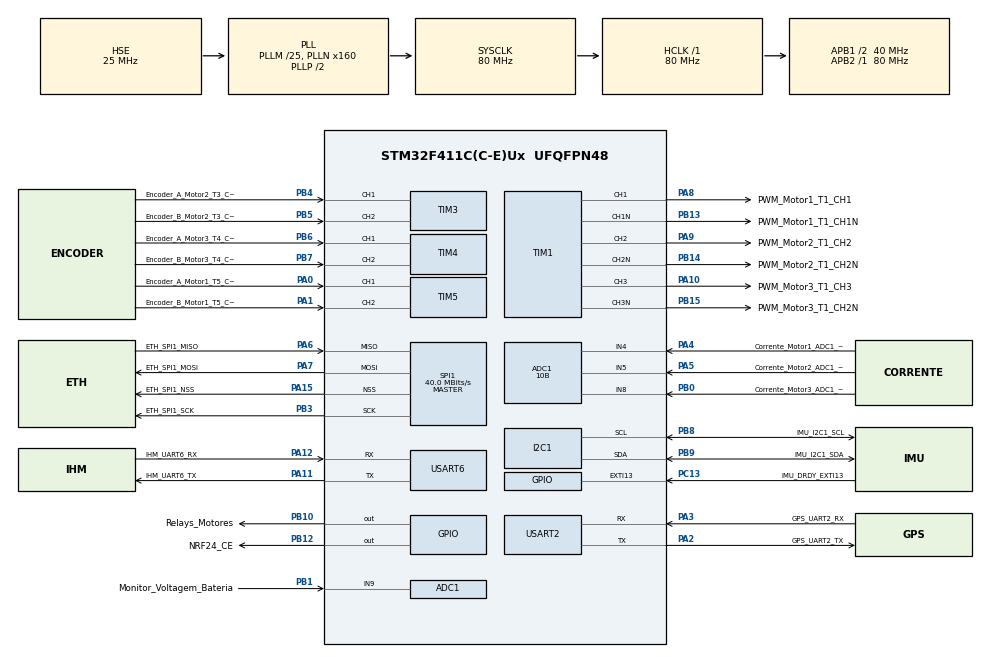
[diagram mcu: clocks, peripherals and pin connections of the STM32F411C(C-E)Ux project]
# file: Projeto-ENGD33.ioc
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ADC1.Channel-0\#ChannelRegularConversion=ADC_CHANNEL_4
ADC1.NbrOfConversion=1
ADC1.NbrOfConversionFlag=1
ADC1.Rank-0\#ChannelRegularConversion=1
ADC1.Resolution=ADC_RESOLUTION_10B
ADC1.SamplingTime-0\#ChannelRegularConversion=ADC_SAMPLETIME_3CYCLES
ADC1.master=1
FREERTOS.Tasks01=defaultTask,24,128,StartDefaultTask,Default,NULL,Dynamic,NULL,NULL
Mcu.Family=STM32F4
Mcu.Name=STM32F411C(C-E)Ux
Mcu.Package=UFQFPN48
NVIC.EXTI15_10_IRQn=true\:5\:0\:false\:false\:true\:true\:true\:true\:true
NVIC.I2C1_ER_IRQn=true\:5\:0\:false\:false\:true\:true\:true\:true\:true
NVIC.I2C1_EV_IRQn=true\:5\:0\:false\:false\:true\:true\:true\:true\:true
NVIC.PriorityGroup=NVIC_PRIORITYGROUP_4
NVIC.SPI1_IRQn=true\:5\:0\:false\:false\:true\:true\:true\:true\:true
NVIC.TIM1_UP_TIM10_IRQn=true\:15\:0\:false\:false\:true\:false\:false\:true\:true
NVIC.TimeBase=TIM1_UP_TIM10_IRQn
NVIC.TimeBaseIP=TIM10
NVIC.USART2_IRQn=true\:5\:0\:false\:false\:true\:true\:true\:true\:true
NVIC.USART6_IRQn=true\:5\:0\:false\:false\:true\:true\:true\:true\:true
PA0-WKUP.GPIO_Label=Encoder_A_Motor1_T5_CH1
PA0-WKUP.Signal=S_TIM5_CH1
PA1.GPIO_Label=Encoder_B_Motor1_T5_CH2
PA1.Signal=S_TIM5_CH2
PA10.GPIO_Label=PWM_Motor3_T1_CH3
PA10.Signal=S_TIM1_CH3
PA11.GPIO_Label=IHM_UART6_TX
PA11.Mode=Asynchronous
PA11.Signal=USART6_TX
PA12.GPIO_Label=IHM_UART6_RX
PA12.Mode=Asynchronous
PA12.Signal=USART6_RX
PA13.Signal=SYS_JTMS-SWDIO
PA14.Signal=SYS_JTCK-SWCLK
PA15.GPIO_Label=ETH_SPI1_NSS
PA15.Mode=NSS_Signal_Hard_Output
PA15.Signal=SPI1_NSS
PA2.GPIO_Label=GPS_UART2_TX
PA2.Mode=Asynchronous
PA2.Signal=USART2_TX
PA3.GPIO_Label=GPS_UART2_RX
PA3.Mode=Asynchronous
PA3.Signal=USART2_RX
PA4.GPIO_Label=Corrente_Motor1_ADC1_IN4
PA4.Signal=ADCx_IN4
PA5.GPIO_Label=Corrente_Motor2_ADC1_IN5
PA5.Signal=ADCx_IN5
PA6.GPIO_Label=ETH_SPI1_MISO
PA6.Mode=Full_Duplex_Master
PA6.Signal=SPI1_MISO
PA7.GPIO_Label=ETH_SPI1_MOSI
PA7.Mode=Full_Duplex_Master
PA7.Signal=SPI1_MOSI
PA8.GPIO_Label=PWM_Motor1_T1_CH1
PA8.Signal=S_TIM1_CH1
PA9.GPIO_Label=PWM_Motor2_T1_CH2
PA9.Signal=S_TIM1_CH2
PB0.GPIO_Label=Corrente_Motor3_ADC1_IN8
PB0.Signal=ADCx_IN8
PB1.GPIO_Label=Monitor_Voltagem_Bateria
PB1.Signal=ADCx_IN9
PB10.GPIO_Label=Relays_Motores
PB10.Signal=GPIO_Output
PB12.GPIO_Label=NRF24_CE
PB12.GPIO_Speed=GPIO_SPEED_FREQ_VERY_HIGH
PB12.Signal=GPIO_Output
PB13.GPIO_Label=PWM_Motor1_T1_CH1N
PB13.Mode=PWM Generation1 CH1 CH1N
PB13.Signal=TIM1_CH1N
PB14.GPIO_Label=PWM_Motor2_T1_CH2N
PB14.Mode=PWM Generation2 CH2 CH2N
PB14.Signal=TIM1_CH2N
PB15.GPIO_Label=PWM_Motor3_T1_CH2N
PB15.Mode=PWM Generation3 CH3 CH3N
PB15.Signal=TIM1_CH3N
PB3.GPIO_Label=ETH_SPI1_SCK
PB3.Mode=Full_Duplex_Master
PB3.Signal=SPI1_SCK
PB4.GPIO_Label=Encoder_A_Motor2_T3_CH1
PB4.Signal=S_TIM3_CH1
PB5.GPIO_Label=Encoder_B_Motor2_T3_CH2
PB5.Signal=S_TIM3_CH2
PB6.GPIO_Label=Encoder_A_Motor3_T4_CH1
PB6.Signal=S_TIM4_CH1
PB7.GPIO_Label=Encoder_B_Motor3_T4_CH2
PB7.Signal=S_TIM4_CH2
PB8.GPIO_Label=IMU_I2C1_SCL
PB8.Mode=I2C
PB8.Signal=I2C1_SCL
PB9.GPIO_Label=IMU_I2C1_SDA
PB9.Mode=I2C
PB9.Signal=I2C1_SDA
PC13-ANTI_TAMP.GPIO_Label=IMU_DRDY_EXTI13
PC13-ANTI_TAMP.Signal=GPXTI13
PC14-OSC32_IN.GPIO_Label=Osc_32k768Hz_In
PC14-OSC32_IN.Mode=LSE-External-Oscillator
PC14-OSC32_IN.Signal=RCC_OSC32_IN
PC15-OSC32_OUT.GPIO_Label=Osc_32k768Hz_Out
PC15-OSC32_OUT.Mode=LSE-External-Oscillator
PC15-OSC32_OUT.Signal=RCC_OSC32_OUT
PH0\ -\ OSC_IN.GPIO_Label=Osc_25MHz_In
PH0\ -\ OSC_IN.Mode=HSE-External-Oscillator
PH0\ -\ OSC_IN.Signal=RCC_OSC_IN
PH1\ -\ OSC_OUT.GPIO_Label=Osc_25MHz_Out
PH1\ -\ OSC_OUT.Mode=HSE-External-Oscillator
PH1\ -\ OSC_OUT.Signal=RCC_OSC_OUT
ProjectManager.HeapSize=0x200
ProjectManager.StackSize=0x400
ProjectManager.TargetToolchain=STM32CubeIDE
RCC.48MHZClocksFreq_Value=40000000
RCC.AHBFreq_Value=80000000
RCC.APB1CLKDivider=RCC_HCLK_DIV2
RCC.APB1Freq_Value=40000000
RCC.APB1TimFreq_Value=80000000
RCC.APB2Freq_Value=80000000
RCC.APB2TimFreq_Value=80000000
RCC.CortexFreq_Value=80000000
RCC.HCLKFreq_Value=80000000
RCC.HSE_VALUE=25000000
RCC.HSI_VALUE=16000000
RCC.PLLM=25
RCC.PLLN=160
RCC.PLLSourceVirtual=RCC_PLLSOURCE_HSE
RCC.RCC_RTC_Clock_Source=RCC_RTCCLKSOURCE_LSE
RCC.RCC_RTC_Clock_SourceVirtual=RCC_RTCCLKSOURCE_LSE
RCC.SYSCLKFreq_VALUE=80000000
RCC.SYSCLKSource=RCC_SYSCLKSOURCE_PLLCLK
RCC.VCOOutputFreq_Value=160000000
SH.ADCx_IN4.0=ADC1_IN4,IN4
SH.ADCx_IN5.0=ADC1_IN5,IN5
SH.ADCx_IN8.0=ADC1_IN8,IN8
SH.ADCx_IN9.0=ADC1_IN9,IN9
SH.S_TIM1_CH1.0=TIM1_CH1,PWM Generation1 CH1 CH1N
SH.S_TIM1_CH2.0=TIM1_CH2,PWM Generation2 CH2 CH2N
SH.S_TIM1_CH3.0=TIM1_CH3,PWM Generation3 CH3 CH3N
SH.S_TIM3_CH1.0=TIM3_CH1,Encoder_Interface
SH.S_TIM3_CH2.0=TIM3_CH2,Encoder_Interface
SH.S_TIM4_CH1.0=TIM4_CH1,Encoder_Interface
SH.S_TIM4_CH2.0=TIM4_CH2,Encoder_Interface
SH.S_TIM5_CH1.0=TIM5_CH1,Encoder_Interface
SH.S_TIM5_CH2.0=TIM5_CH2,Encoder_Interface
SPI1.CalculateBaudRate=40.0 MBits/s
SPI1.Direction=SPI_DIRECTION_2LINES
SPI1.Mode=SPI_MODE_MASTER
SPI1.VirtualNSS=VM_NSSHARD
SPI1.VirtualType=VM_MASTER
TIM1.Channel-PWM\ Generation1\ CH1\ CH1N=TIM_CHANNEL_1
TIM1.Channel-PWM\ Generation2\ CH2\ CH2N=TIM_CHANNEL_2
TIM1.Channel-PWM\ Generation3\ CH3\ CH3N=TIM_CHANNEL_3
USART2.VirtualMode=VM_ASYNC
USART6.VirtualMode=VM_ASYNC
VP_ADC1_TempSens_Input.Mode=IN-TempSens
VP_FREERTOS_VS_CMSIS_V2.Mode=CMSIS_V2
VP_RTC_VS_RTC_Activate.Mode=RTC_Enabled
VP_RTC_VS_RTC_Calendar.Mode=RTC_Calendar
VP_SYS_VS_tim10.Mode=TIM10
VP_TIM1_VS_ClockSourceINT.Mode=Internal
board=custom

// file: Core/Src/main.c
/* USER CODE BEGIN Header */
/**
  ******************************************************************************
  * @file           : main.c
  * @brief          : Main program body
  ******************************************************************************
  * @attention
  *
  * Copyright (c) 2025 STMicroelectronics.
  * All rights reserved.
  *
  * This software is licensed under terms that can be found in the LICENSE file
  * in the root directory of this software component.
  * If no LICENSE file comes with this software, it is provided AS-IS.
  *
  ******************************************************************************
  */
/* USER CODE END Header */
#include "main.h"
#include "cmsis_os.h"

ADC_HandleTypeDef hadc1;

I2C_HandleTypeDef hi2c1;

RTC_HandleTypeDef hrtc;

SPI_HandleTypeDef hspi1;

TIM_HandleTypeDef htim1;
TIM_HandleTypeDef htim3;
TIM_HandleTypeDef htim4;
TIM_HandleTypeDef htim5;

UART_HandleTypeDef huart2;
UART_HandleTypeDef huart6;

/* Definitions for defaultTask */
osThreadId_t defaultTaskHandle;
const osThreadAttr_t defaultTask_attributes = {
  .name = "defaultTask",
  .stack_size = 128 * 4,
  .priority = (osPriority_t) osPriorityNormal,
};

void SystemClock_Config(void);
static void MX_GPIO_Init(void);
static void MX_RTC_Init(void);
static void MX_ADC1_Init(void);
static void MX_I2C1_Init(void);
static void MX_SPI1_Init(void);
static void MX_TIM1_Init(void);
static void MX_TIM3_Init(void);
static void MX_TIM4_Init(void);
static void MX_TIM5_Init(void);
static void MX_USART2_UART_Init(void);
static void MX_USART6_UART_Init(void);
void StartDefaultTask(void *argument);

/* USER CODE BEGIN PFP */
void SetupTarefasPortaCOMM(void);

/* USER CODE END PFP */

int main(void)
{

  /* MCU Configuration--------------------------------------------------------*/

  /* Reset of all peripherals, Initializes the Flash interface and the Systick. */
  HAL_Init();

  /* Configure the system clock */
  SystemClock_Config();

  /* Initialize all configured peripherals */
  MX_GPIO_Init();
  MX_RTC_Init();
  MX_ADC1_Init();
  MX_I2C1_Init();
  MX_SPI1_Init();
  MX_TIM1_Init();
  MX_TIM3_Init();
  MX_TIM4_Init();
  MX_TIM5_Init();
  MX_USART2_UART_Init();
  MX_USART6_UART_Init();
  /* USER CODE BEGIN 2 */
  SetupTarefasPortaCOMM();
  /* USER CODE END 2 */

  /* Init scheduler */
  osKernelInitialize();

  /* Create the thread(s) */
  /* creation of defaultTask */
  defaultTaskHandle = osThreadNew(StartDefaultTask, NULL, &defaultTask_attributes);

  /* Start scheduler */
  osKernelStart();

  /* We should never get here as control is now taken by the scheduler */

  /* Infinite loop */
  while (1)
  {

  }
}

void SystemClock_Config(void)
{
  RCC_OscInitTypeDef RCC_OscInitStruct = {0};
  RCC_ClkInitTypeDef RCC_ClkInitStruct = {0};

  /** Configure the main internal regulator output voltage
  */
  __HAL_RCC_PWR_CLK_ENABLE();
  __HAL_PWR_VOLTAGESCALING_CONFIG(PWR_REGULATOR_VOLTAGE_SCALE1);

  /** Initializes the RCC Oscillators according to the specified parameters
  * in the RCC_OscInitTypeDef structure.
  */
  RCC_OscInitStruct.OscillatorType = RCC_OSCILLATORTYPE_HSE|RCC_OSCILLATORTYPE_LSE;
  RCC_OscInitStruct.HSEState = RCC_HSE_ON;
  RCC_OscInitStruct.LSEState = RCC_LSE_ON;
  RCC_OscInitStruct.PLL.PLLState = RCC_PLL_ON;
  RCC_OscInitStruct.PLL.PLLSource = RCC_PLLSOURCE_HSE;
  RCC_OscInitStruct.PLL.PLLM = 25;
  RCC_OscInitStruct.PLL.PLLN = 160;
  RCC_OscInitStruct.PLL.PLLP = RCC_PLLP_DIV2;
  RCC_OscInitStruct.PLL.PLLQ = 4;
  if (HAL_RCC_OscConfig(&RCC_OscInitStruct) != HAL_OK)
  {
    Error_Handler();
  }

  /** Initializes the CPU, AHB and APB buses clocks
  */
  RCC_ClkInitStruct.ClockType = RCC_CLOCKTYPE_HCLK|RCC_CLOCKTYPE_SYSCLK
                              |RCC_CLOCKTYPE_PCLK1|RCC_CLOCKTYPE_PCLK2;
  RCC_ClkInitStruct.SYSCLKSource = RCC_SYSCLKSOURCE_PLLCLK;
  RCC_ClkInitStruct.AHBCLKDivider = RCC_SYSCLK_DIV1;
  RCC_ClkInitStruct.APB1CLKDivider = RCC_HCLK_DIV2;
  RCC_ClkInitStruct.APB2CLKDivider = RCC_HCLK_DIV1;

  if (HAL_RCC_ClockConfig(&RCC_ClkInitStruct, FLASH_LATENCY_2) != HAL_OK)
  {
    Error_Handler();
  }
}

static void MX_ADC1_Init(void)
{

  ADC_ChannelConfTypeDef sConfig = {0};

  /** Configure the global features of the ADC (Clock, Resolution, Data Alignment and number of conversion)
  */
  hadc1.Instance = ADC1;
  hadc1.Init.ClockPrescaler = ADC_CLOCK_SYNC_PCLK_DIV4;
  hadc1.Init.Resolution = ADC_RESOLUTION_10B;
  hadc1.Init.ScanConvMode = DISABLE;
  hadc1.Init.ContinuousConvMode = DISABLE;
  hadc1.Init.DiscontinuousConvMode = DISABLE;
  hadc1.Init.ExternalTrigConvEdge = ADC_EXTERNALTRIGCONVEDGE_NONE;
  hadc1.Init.ExternalTrigConv = ADC_SOFTWARE_START;
  hadc1.Init.DataAlign = ADC_DATAALIGN_RIGHT;
  hadc1.Init.NbrOfConversion = 1;
  hadc1.Init.DMAContinuousRequests = DISABLE;
  hadc1.Init.EOCSelection = ADC_EOC_SINGLE_CONV;
  if (HAL_ADC_Init(&hadc1) != HAL_OK)
  {
    Error_Handler();
  }

  /** Configure for the selected ADC regular channel its corresponding rank in the sequencer and its sample time.
  */
  sConfig.Channel = ADC_CHANNEL_4;
  sConfig.Rank = 1;
  sConfig.SamplingTime = ADC_SAMPLETIME_3CYCLES;
  if (HAL_ADC_ConfigChannel(&hadc1, &sConfig) != HAL_OK)
  {
    Error_Handler();
  }
  /* USER CODE BEGIN ADC1_Init 2 */
  sConfig.Channel = ADC_CHANNEL_5;
    sConfig.Rank = 1;
    sConfig.SamplingTime = ADC_SAMPLETIME_112CYCLES;
    if (HAL_ADC_ConfigChannel(&hadc1, &sConfig) != HAL_OK)
    {
      Error_Handler();
    }

    sConfig.Channel = ADC_CHANNEL_8;
      sConfig.Rank = 1;
      sConfig.SamplingTime = ADC_SAMPLETIME_112CYCLES;
      if (HAL_ADC_ConfigChannel(&hadc1, &sConfig) != HAL_OK)
      {
        Error_Handler();
      }

      sConfig.Channel = ADC_CHANNEL_9;
        sConfig.Rank = 1;
        sConfig.SamplingTime = ADC_SAMPLETIME_112CYCLES;
        if (HAL_ADC_ConfigChannel(&hadc1, &sConfig) != HAL_OK)
        {
          Error_Handler();
        }

  /* USER CODE END ADC1_Init 2 */

}

static void MX_I2C1_Init(void)
{

  hi2c1.Instance = I2C1;
  hi2c1.Init.ClockSpeed = 100000;
  hi2c1.Init.DutyCycle = I2C_DUTYCYCLE_2;
  hi2c1.Init.OwnAddress1 = 0;
  hi2c1.Init.AddressingMode = I2C_ADDRESSINGMODE_7BIT;
  hi2c1.Init.DualAddressMode = I2C_DUALADDRESS_DISABLE;
  hi2c1.Init.OwnAddress2 = 0;
  hi2c1.Init.GeneralCallMode = I2C_GENERALCALL_DISABLE;
  hi2c1.Init.NoStretchMode = I2C_NOSTRETCH_DISABLE;
  if (HAL_I2C_Init(&hi2c1) != HAL_OK)
  {
    Error_Handler();
  }

}

static void MX_RTC_Init(void)
{

  RTC_TimeTypeDef sTime = {0};
  RTC_DateTypeDef sDate = {0};

  /** Initialize RTC Only
  */
  hrtc.Instance = RTC;
  hrtc.Init.HourFormat = RTC_HOURFORMAT_24;
  hrtc.Init.AsynchPrediv = 127;
  hrtc.Init.SynchPrediv = 255;
  hrtc.Init.OutPut = RTC_OUTPUT_DISABLE;
  hrtc.Init.OutPutPolarity = RTC_OUTPUT_POLARITY_HIGH;
  hrtc.Init.OutPutType = RTC_OUTPUT_TYPE_OPENDRAIN;
  if (HAL_RTC_Init(&hrtc) != HAL_OK)
  {
    Error_Handler();
  }

  /** Initialize RTC and set the Time and Date
  */
  sTime.Hours = 0x0;
  sTime.Minutes = 0x0;
  sTime.Seconds = 0x0;
  sTime.DayLightSaving = RTC_DAYLIGHTSAVING_NONE;
  sTime.StoreOperation = RTC_STOREOPERATION_RESET;
  if (HAL_RTC_SetTime(&hrtc, &sTime, RTC_FORMAT_BCD) != HAL_OK)
  {
    Error_Handler();
  }
  sDate.WeekDay = RTC_WEEKDAY_MONDAY;
  sDate.Month = RTC_MONTH_JANUARY;
  sDate.Date = 0x1;
  sDate.Year = 0x0;

  if (HAL_RTC_SetDate(&hrtc, &sDate, RTC_FORMAT_BCD) != HAL_OK)
  {
    Error_Handler();
  }

}

static void MX_SPI1_Init(void)
{

  /* SPI1 parameter configuration*/
  hspi1.Instance = SPI1;
  hspi1.Init.Mode = SPI_MODE_MASTER;
  hspi1.Init.Direction = SPI_DIRECTION_2LINES;
  hspi1.Init.DataSize = SPI_DATASIZE_8BIT;
  hspi1.Init.CLKPolarity = SPI_POLARITY_LOW;
  hspi1.Init.CLKPhase = SPI_PHASE_1EDGE;
  hspi1.Init.NSS = SPI_NSS_HARD_OUTPUT;
  hspi1.Init.BaudRatePrescaler = SPI_BAUDRATEPRESCALER_2;
  hspi1.Init.FirstBit = SPI_FIRSTBIT_MSB;
  hspi1.Init.TIMode = SPI_TIMODE_DISABLE;
  hspi1.Init.CRCCalculation = SPI_CRCCALCULATION_DISABLE;
  hspi1.Init.CRCPolynomial = 10;
  if (HAL_SPI_Init(&hspi1) != HAL_OK)
  {
    Error_Handler();
  }

}

static void MX_TIM1_Init(void)
{

  TIM_ClockConfigTypeDef sClockSourceConfig = {0};
  TIM_MasterConfigTypeDef sMasterConfig = {0};
  TIM_OC_InitTypeDef sConfigOC = {0};
  TIM_BreakDeadTimeConfigTypeDef sBreakDeadTimeConfig = {0};

  htim1.Instance = TIM1;
  htim1.Init.Prescaler = 0;
  htim1.Init.CounterMode = TIM_COUNTERMODE_UP;
  htim1.Init.Period = 65535;
  htim1.Init.ClockDivision = TIM_CLOCKDIVISION_DIV1;
  htim1.Init.RepetitionCounter = 0;
  htim1.Init.AutoReloadPreload = TIM_AUTORELOAD_PRELOAD_DISABLE;
  if (HAL_TIM_Base_Init(&htim1) != HAL_OK)
  {
    Error_Handler();
  }
  sClockSourceConfig.ClockSource = TIM_CLOCKSOURCE_INTERNAL;
  if (HAL_TIM_ConfigClockSource(&htim1, &sClockSourceConfig) != HAL_OK)
  {
    Error_Handler();
  }
  if (HAL_TIM_PWM_Init(&htim1) != HAL_OK)
  {
    Error_Handler();
  }
  sMasterConfig.MasterOutputTrigger = TIM_TRGO_RESET;
  sMasterConfig.MasterSlaveMode = TIM_MASTERSLAVEMODE_DISABLE;
  if (HAL_TIMEx_MasterConfigSynchronization(&htim1, &sMasterConfig) != HAL_OK)
  {
    Error_Handler();
  }
  sConfigOC.OCMode = TIM_OCMODE_PWM1;
  sConfigOC.Pulse = 0;
  sConfigOC.OCPolarity = TIM_OCPOLARITY_HIGH;
  sConfigOC.OCNPolarity = TIM_OCNPOLARITY_HIGH;
  sConfigOC.OCFastMode = TIM_OCFAST_DISABLE;
  sConfigOC.OCIdleState = TIM_OCIDLESTATE_RESET;
  sConfigOC.OCNIdleState = TIM_OCNIDLESTATE_RESET;
  if (HAL_TIM_PWM_ConfigChannel(&htim1, &sConfigOC, TIM_CHANNEL_1) != HAL_OK)
  {
    Error_Handler();
  }
  if (HAL_TIM_PWM_ConfigChannel(&htim1, &sConfigOC, TIM_CHANNEL_2) != HAL_OK)
  {
    Error_Handler();
  }
  if (HAL_TIM_PWM_ConfigChannel(&htim1, &sConfigOC, TIM_CHANNEL_3) != HAL_OK)
  {
    Error_Handler();
  }
  sBreakDeadTimeConfig.OffStateRunMode = TIM_OSSR_DISABLE;
  sBreakDeadTimeConfig.OffStateIDLEMode = TIM_OSSI_DISABLE;
  sBreakDeadTimeConfig.LockLevel = TIM_LOCKLEVEL_OFF;
  sBreakDeadTimeConfig.DeadTime = 0;
  sBreakDeadTimeConfig.BreakState = TIM_BREAK_DISABLE;
  sBreakDeadTimeConfig.BreakPolarity = TIM_BREAKPOLARITY_HIGH;
  sBreakDeadTimeConfig.AutomaticOutput = TIM_AUTOMATICOUTPUT_DISABLE;
  if (HAL_TIMEx_ConfigBreakDeadTime(&htim1, &sBreakDeadTimeConfig) != HAL_OK)
  {
    Error_Handler();
  }
  HAL_TIM_MspPostInit(&htim1);

}

static void MX_TIM3_Init(void)
{

  TIM_Encoder_InitTypeDef sConfig = {0};
  TIM_MasterConfigTypeDef sMasterConfig = {0};

  htim3.Instance = TIM3;
  htim3.Init.Prescaler = 0;
  htim3.Init.CounterMode = TIM_COUNTERMODE_UP;
  htim3.Init.Period = 65535;
  htim3.Init.ClockDivision = TIM_CLOCKDIVISION_DIV1;
  htim3.Init.AutoReloadPreload = TIM_AUTORELOAD_PRELOAD_DISABLE;
  sConfig.EncoderMode = TIM_ENCODERMODE_TI1;
  sConfig.IC1Polarity = TIM_ICPOLARITY_RISING;
  sConfig.IC1Selection = TIM_ICSELECTION_DIRECTTI;
  sConfig.IC1Prescaler = TIM_ICPSC_DIV1;
  sConfig.IC1Filter = 0;
  sConfig.IC2Polarity = TIM_ICPOLARITY_RISING;
  sConfig.IC2Selection = TIM_ICSELECTION_DIRECTTI;
  sConfig.IC2Prescaler = TIM_ICPSC_DIV1;
  sConfig.IC2Filter = 0;
  if (HAL_TIM_Encoder_Init(&htim3, &sConfig) != HAL_OK)
  {
    Error_Handler();
  }
  sMasterConfig.MasterOutputTrigger = TIM_TRGO_RESET;
  sMasterConfig.MasterSlaveMode = TIM_MASTERSLAVEMODE_DISABLE;
  if (HAL_TIMEx_MasterConfigSynchronization(&htim3, &sMasterConfig) != HAL_OK)
  {
    Error_Handler();
  }

}

static void MX_TIM4_Init(void)
{

  TIM_Encoder_InitTypeDef sConfig = {0};
  TIM_MasterConfigTypeDef sMasterConfig = {0};

  htim4.Instance = TIM4;
  htim4.Init.Prescaler = 0;
  htim4.Init.CounterMode = TIM_COUNTERMODE_UP;
  htim4.Init.Period = 65535;
  htim4.Init.ClockDivision = TIM_CLOCKDIVISION_DIV1;
  htim4.Init.AutoReloadPreload = TIM_AUTORELOAD_PRELOAD_DISABLE;
  sConfig.EncoderMode = TIM_ENCODERMODE_TI1;
  sConfig.IC1Polarity = TIM_ICPOLARITY_RISING;
  sConfig.IC1Selection = TIM_ICSELECTION_DIRECTTI;
  sConfig.IC1Prescaler = TIM_ICPSC_DIV1;
  sConfig.IC1Filter = 0;
  sConfig.IC2Polarity = TIM_ICPOLARITY_RISING;
  sConfig.IC2Selection = TIM_ICSELECTION_DIRECTTI;
  sConfig.IC2Prescaler = TIM_ICPSC_DIV1;
  sConfig.IC2Filter = 0;
  if (HAL_TIM_Encoder_Init(&htim4, &sConfig) != HAL_OK)
  {
    Error_Handler();
  }
  sMasterConfig.MasterOutputTrigger = TIM_TRGO_RESET;
  sMasterConfig.MasterSlaveMode = TIM_MASTERSLAVEMODE_DISABLE;
  if (HAL_TIMEx_MasterConfigSynchronization(&htim4, &sMasterConfig) != HAL_OK)
  {
    Error_Handler();
  }

}

static void MX_TIM5_Init(void)
{

  TIM_Encoder_InitTypeDef sConfig = {0};
  TIM_MasterConfigTypeDef sMasterConfig = {0};

  htim5.Instance = TIM5;
  htim5.Init.Prescaler = 0;
  htim5.Init.CounterMode = TIM_COUNTERMODE_UP;
  htim5.Init.Period = 4294967295;
  htim5.Init.ClockDivision = TIM_CLOCKDIVISION_DIV1;
  htim5.Init.AutoReloadPreload = TIM_AUTORELOAD_PRELOAD_DISABLE;
  sConfig.EncoderMode = TIM_ENCODERMODE_TI1;
  sConfig.IC1Polarity = TIM_ICPOLARITY_RISING;
  sConfig.IC1Selection = TIM_ICSELECTION_DIRECTTI;
  sConfig.IC1Prescaler = TIM_ICPSC_DIV1;
  sConfig.IC1Filter = 0;
  sConfig.IC2Polarity = TIM_ICPOLARITY_RISING;
  sConfig.IC2Selection = TIM_ICSELECTION_DIRECTTI;
  sConfig.IC2Prescaler = TIM_ICPSC_DIV1;
  sConfig.IC2Filter = 0;
  if (HAL_TIM_Encoder_Init(&htim5, &sConfig) != HAL_OK)
  {
    Error_Handler();
  }
  sMasterConfig.MasterOutputTrigger = TIM_TRGO_RESET;
  sMasterConfig.MasterSlaveMode = TIM_MASTERSLAVEMODE_DISABLE;
  if (HAL_TIMEx_MasterConfigSynchronization(&htim5, &sMasterConfig) != HAL_OK)
  {
    Error_Handler();
  }

}

static void MX_USART2_UART_Init(void)
{

  huart2.Instance = USART2;
  huart2.Init.BaudRate = 115200;
  huart2.Init.WordLength = UART_WORDLENGTH_8B;
  huart2.Init.StopBits = UART_STOPBITS_1;
  huart2.Init.Parity = UART_PARITY_NONE;
  huart2.Init.Mode = UART_MODE_TX_RX;
  huart2.Init.HwFlowCtl = UART_HWCONTROL_NONE;
  huart2.Init.OverSampling = UART_OVERSAMPLING_16;
  if (HAL_UART_Init(&huart2) != HAL_OK)
  {
    Error_Handler();
  }

}

static void MX_USART6_UART_Init(void)
{

  huart6.Instance = USART6;
  huart6.Init.BaudRate = 115200;
  huart6.Init.WordLength = UART_WORDLENGTH_8B;
  huart6.Init.StopBits = UART_STOPBITS_1;
  huart6.Init.Parity = UART_PARITY_NONE;
  huart6.Init.Mode = UART_MODE_TX_RX;
  huart6.Init.HwFlowCtl = UART_HWCONTROL_NONE;
  huart6.Init.OverSampling = UART_OVERSAMPLING_16;
  if (HAL_UART_Init(&huart6) != HAL_OK)
  {
    Error_Handler();
  }

}

static void MX_GPIO_Init(void)
{
  GPIO_InitTypeDef GPIO_InitStruct = {0};

  /* GPIO Ports Clock Enable */
  __HAL_RCC_GPIOC_CLK_ENABLE();
  __HAL_RCC_GPIOH_CLK_ENABLE();
  __HAL_RCC_GPIOA_CLK_ENABLE();
  __HAL_RCC_GPIOB_CLK_ENABLE();

  /*Configure GPIO pin Output Level */
  HAL_GPIO_WritePin(GPIOB, Relays_Motores_Pin|NRF24_CE_Pin, GPIO_PIN_RESET);

  /*Configure GPIO pin : IMU_DRDY_EXTI13_Pin */
  GPIO_InitStruct.Pin = IMU_DRDY_EXTI13_Pin;
  GPIO_InitStruct.Mode = GPIO_MODE_IT_RISING;
  GPIO_InitStruct.Pull = GPIO_NOPULL;
  HAL_GPIO_Init(IMU_DRDY_EXTI13_GPIO_Port, &GPIO_InitStruct);

  /*Configure GPIO pin : Relays_Motores_Pin */
  GPIO_InitStruct.Pin = Relays_Motores_Pin;
  GPIO_InitStruct.Mode = GPIO_MODE_OUTPUT_PP;
  GPIO_InitStruct.Pull = GPIO_NOPULL;
  GPIO_InitStruct.Speed = GPIO_SPEED_FREQ_LOW;
  HAL_GPIO_Init(Relays_Motores_GPIO_Port, &GPIO_InitStruct);

  /*Configure GPIO pin : NRF24_CE_Pin */
  GPIO_InitStruct.Pin = NRF24_CE_Pin;
  GPIO_InitStruct.Mode = GPIO_MODE_OUTPUT_PP;
  GPIO_InitStruct.Pull = GPIO_NOPULL;
  GPIO_InitStruct.Speed = GPIO_SPEED_FREQ_VERY_HIGH;
  HAL_GPIO_Init(NRF24_CE_GPIO_Port, &GPIO_InitStruct);

  /* EXTI interrupt init*/
  HAL_NVIC_SetPriority(EXTI15_10_IRQn, 5, 0);
  HAL_NVIC_EnableIRQ(EXTI15_10_IRQn);

}

void StartDefaultTask(void *argument)
{
  for(;;)
  {
    osDelay(1);
  }
}

void HAL_TIM_PeriodElapsedCallback(TIM_HandleTypeDef *htim)
{
  if (htim->Instance == TIM10)
  {
    HAL_IncTick();
  }
}

void Error_Handler(void)
{
  __disable_irq();
  while (1)
  {
  }
}
